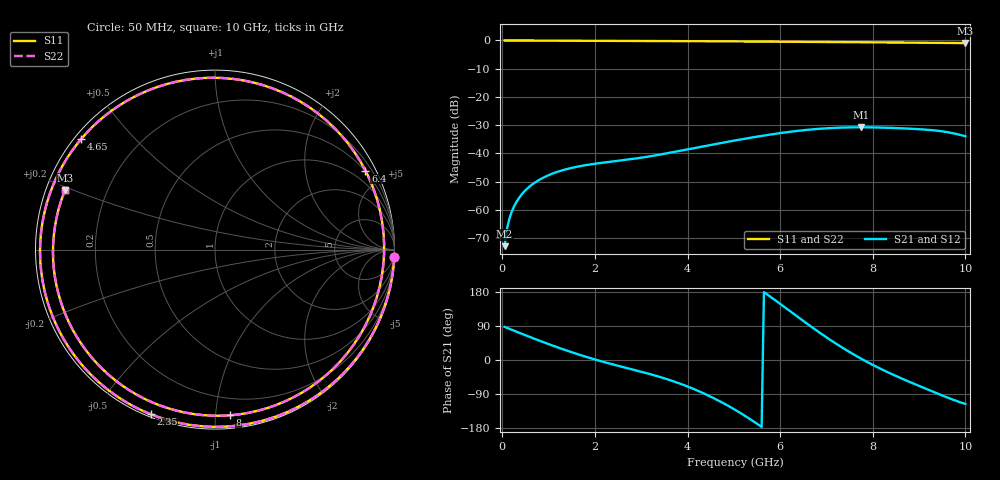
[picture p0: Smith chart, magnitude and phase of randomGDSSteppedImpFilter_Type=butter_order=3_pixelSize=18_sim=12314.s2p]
! freq	dB(S11)	phase(S11)	dB(S12)	phase(S12)
!  dB(S21)	phase(S21)	dB(S22)	phase(S22)
!S-par simulation data
#  GHz  S  DB  R 50
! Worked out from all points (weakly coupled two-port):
!   200 points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, 50 MHz to 10 GHz, reference 50 ohm
!   highest |S21| = -30.77 dB at 7.75 GHz (marker M1); lowest = -72.9 dB at 50 MHz (marker M2)
!   lowest |S11| = -0.9 dB at 10 GHz (marker M3), VSWR 18.78, Z = 2.76 + j9.48 ohm
!   |S11| at or under -10 dB: nowhere
!   |S22| runs from -0.9 to 0.0 dB; largest |S21 - S12| = 0
!   S11 on the Smith chart (normalised r, x): 50 MHz: 0, -46; 2.35 GHz: 0.01, -0.68; 4.65 GHz: 0.02, +0.36; 6.4 GHz: 0.47, +4.01; 8 GHz: 0.08, -1.09; 10 GHz: 0.06, +0.19
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0.05  -0.00 -2.5  -72.91 87.4  -72.91 87.4  -0.00 -2.5
0.1  -0.00 -5.0  -66.88 84.9  -66.88 84.9  -0.00 -5.0
0.2  -0.01 -10.0  -60.88 79.9  -60.88 79.9  -0.01 -10.0
0.5  -0.03 -24.8  -53.11 65.3  -53.11 65.3  -0.03 -24.8
1.15  -0.07 -56.3  -46.79 35.2  -46.79 35.2  -0.07 -56.3
1.75  -0.10 -84.3  -44.34 10.6  -44.34 10.6  -0.10 -84.3
2.35  -0.13 -111.4  -42.95 -10.5  -42.95 -10.5  -0.13 -111.4
3.4  -0.19 -158.3  -40.46 -44.6  -40.46 -44.6  -0.19 -158.3
4.05  -0.24 171.3  -38.44 -72.4  -38.44 -72.4  -0.24 171.2
4.65  -0.29 140.6  -36.56 -106.0  -36.56 -106.0  -0.29 140.5
5.05  -0.33 118.1  -35.37 -133.1  -35.37 -133.1  -0.33 118.0
5.4  -0.37 96.7  -34.37 -160.0  -34.37 -160.0  -0.37 96.6
5.75  -0.40 73.8  -33.44 170.5  -33.44 170.5  -0.40 73.7
6.4  -0.48 27.7  -32.00 112.0  -32.00 112.0  -0.48 27.6
6.7  -0.51 5.6  -31.50 85.3  -31.50 85.3  -0.51 5.6
7.15  -0.56 -27.2  -31.00 47.6  -31.00 47.6  -0.55 -27.2
7.75  -0.63 -68.6  -30.77 3.4  -30.77 3.4  -0.63 -68.7
8  -0.66 -84.9  -30.81 -12.9  -30.81 -12.9  -0.66 -84.9
8.35  -0.71 -106.6  -30.96 -33.8  -30.96 -33.8  -0.71 -106.6
9.2  -0.84 -156.2  -31.68 -78.5  -31.68 -78.5  -0.83 -156.2
9.6  -0.89 -178.8  -32.47 -98.5  -32.47 -98.5  -0.89 -178.8
10  -0.93 158.5  -33.95 -115.8  -33.95 -115.8  -0.93 158.5
